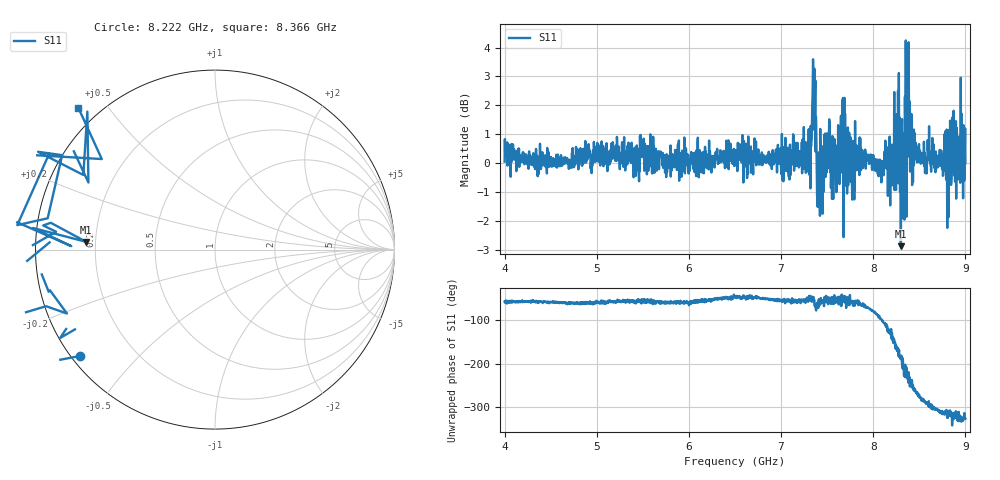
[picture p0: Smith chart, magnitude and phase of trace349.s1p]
! Created with skrf 1.8.0 (http://scikit-rf.org).
# Hz S RI R 50.0
!freq ReS11 ImS11
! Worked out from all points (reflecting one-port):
!   1601 points, 4 GHz to 9 GHz, reference 50 ohm
!   lowest |S11| = -2.9 dB at 8.3 GHz (marker M1), VSWR 6.10, Z = 8.21 + j1.46 ohm
!   phase of S11 starts at -57 deg and turns -269 deg over the sweep
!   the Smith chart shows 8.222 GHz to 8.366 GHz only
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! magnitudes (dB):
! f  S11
! 4 GHz  0.1
! 4.625 GHz  -0.1
! 5.25 GHz  -0.2
! 5.875 GHz  0.5
! 6.5 GHz  0.2
! 7.125 GHz  0.1
! 7.294 GHz  0.1
! 7.356 GHz  2.3
! 7.412 GHz  -1.2
! 7.438 GHz  -0.8
! 7.503 GHz  0.8
! 7.591 GHz  0.6
! 7.65 GHz  1.6
! 7.75 GHz  0.1
! 7.844 GHz  0.6
! 8.197 GHz  0.5
! 8.262 GHz  -0.4
! 8.3 GHz  -2.9
! 8.316 GHz  0.6
! 8.334 GHz  0.4
! 8.356 GHz  3.2
! 8.375 GHz  0.2
! 8.447 GHz  1.0
! 8.559 GHz  0.4
! 8.828 GHz  0.6
! 8.853 GHz  0.4
! 8.956 GHz  0.2
! 9 GHz  0.0
